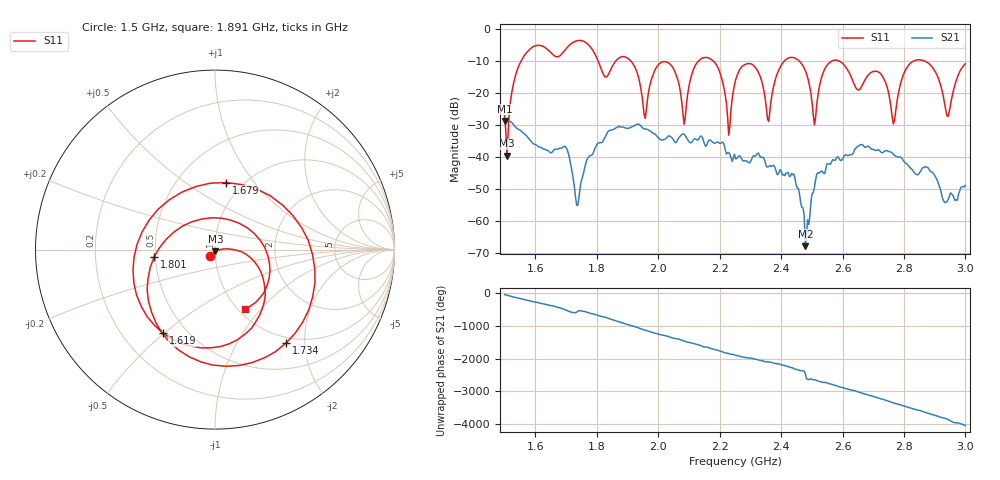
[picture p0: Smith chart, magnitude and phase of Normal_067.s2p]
# HZ S RI R 50
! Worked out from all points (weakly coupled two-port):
!   404 points, 1.5 GHz to 3 GHz, reference 50 ohm
!   highest |S21| = -28.68 dB at 1.5 GHz (marker M1); lowest = -67.7 dB at 2.479 GHz (marker M2)
!   lowest |S11| = -39.5 dB at 1.507 GHz (marker M3), VSWR 1.02, Z = 50.2 - j1.04 ohm
!   |S11| at or under -10 dB: 1.911 GHz to 2.131 GHz (220.3 MHz wide, 10.9 % of centre); 2.18 GHz to 2.41 GHz (230.9 MHz wide, 10.1 % of centre); 2.589 GHz to 2.831 GHz (242.4 MHz wide, 8.94 % of centre) (the widest 3 of 7)
!   S12 and S22 are empty: the file has one direction only
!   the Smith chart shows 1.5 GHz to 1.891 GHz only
!   S11 on the Smith chart (normalised r, x): 1.5 GHz: 0.94, -0.07; 1.619 GHz: 0.37, -0.50; 1.679 GHz: 0.84, +0.73; 1.734 GHz: 0.90, -1.64; 1.801 GHz: 0.49, -0.05; 1.891 GHz: 1.07, -0.82
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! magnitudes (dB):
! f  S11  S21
! 1.5 GHz  -27.1  -28.7
! 1.507 GHz  -39.5  -28.9
! 1.619 GHz  -5.2  -37.0
! 1.679 GHz  -8.4  -37.2
! 1.734 GHz  -3.7  -54.9
! 1.753 GHz  -3.7  -46.3
! 1.801 GHz  -9.3  -35.9
! 1.891 GHz  -8.7  -30.8
! 1.958 GHz  -27.9  -31.2
! 2.002 GHz  -10.9  -34.1
! 2.084 GHz  -29.7  -32.8
! 2.14 GHz  -9.3  -33.4
! 2.23 GHz  -33.1  -38.5
! 2.252 GHz  -16.0  -40.5
! 2.438 GHz  -8.9  -45.5
! 2.479 GHz  -13.0  -67.7
! 2.501 GHz  -23.2  -51.3
! 2.576 GHz  -9.7  -41.0
! 2.751 GHz  -20.3  -38.2
! 2.859 GHz  -9.7  -43.5
! 2.944 GHz  -27.2  -53.1
! 3 GHz  -10.9  -48.8
